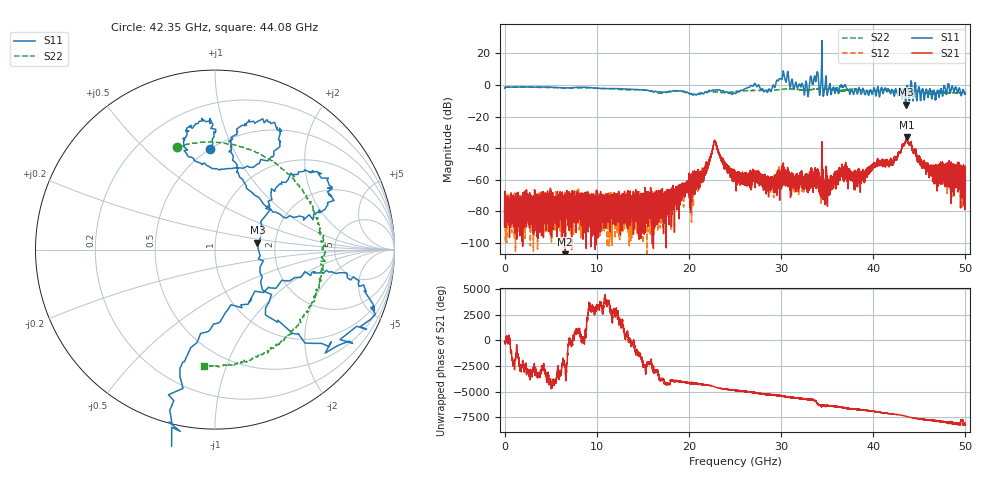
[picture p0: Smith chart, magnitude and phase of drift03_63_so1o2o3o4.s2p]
!Created with skrf (http://scikit-rf.org).
# Hz S RI R 50.0
!freq ReS11 ImS11 ReS21 ImS21 ReS12 ImS12 ReS22 ImS22
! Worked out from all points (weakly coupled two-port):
!   10000 points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, 5.3 MHz to 50 GHz, reference 50 ohm
!   highest |S21| = -32.96 dB at 43.65 GHz (marker M1); lowest = -107.0 dB at 6.59 GHz (marker M2)
!   lowest |S11| = -12.4 dB at 43.52 GHz (marker M3), VSWR 1.63, Z = 80.6 + j6.7 ohm
!   |S11| at or under -10 dB: 43.48295 GHz to 43.55583 GHz (72.89 MHz wide, 0.167 % of centre); 44.31257 GHz to 44.31569 GHz (3.119 MHz wide, 0.00704 % of centre); 44.70778 GHz to 44.71138 GHz (3.597 MHz wide, 0.00804 % of centre)
!   |S22| runs from -5.9 to -1.3 dB; largest |S21 - S12| = 0.0087
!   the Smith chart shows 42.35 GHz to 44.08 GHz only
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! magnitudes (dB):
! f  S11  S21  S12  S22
! 5.3 MHz  -2.1  -78.1  -73.4  -2.1
! 6.59 GHz  -1.9  -107.0  -75.0  -1.9
! 8.34 GHz  -1.5  -78.6  -89.1  -1.9
! 16.67 GHz  -4.4  -82.5  -69.0  -5.2
! 20.91 GHz  -5.9  -59.7  -59.0  -5.6
! 21.88 GHz  -4.7  -53.5  -52.3  -4.5
! 22.81 GHz  -3.5  -35.6  -35.5  -4.5
! 25.01 GHz  -5.5  -56.5  -58.5  -4.3
! 27.01 GHz  -0.5  -60.9  -57.4  -3.6
! 28.88 GHz  -4.1  -63.8  -62.9  -3.6
! 30.14 GHz  4.4  -50.9  -58.8  -2.8
! 32.74 GHz  2.1  -60.2  -60.9  -3.4
! 33.34 GHz  2.6  -55.3  -60.6  -2.9
! 33.82 GHz  4.0  -65.5  -58.7  -2.5
! 35.25 GHz  -0.5  -65.7  -62.8  -2.6
! 36.49 GHz  -0.2  -54.6  -55.6  -3.6
! 38.45 GHz  -1.7  -56.6  -54.9  -3.0
! 41.67 GHz  -2.9  -50.3  -50.3  -3.7
! 43.52 GHz  -12.4  -35.6  -35.5  -4.2
! 43.65 GHz  -1.5  -33.0  -33.2  -4.0
! 46.21 GHz  -3.4  -52.6  -53.2  -5.6
! 50 GHz  -5.2  -62.9  -59.0  -4.9
